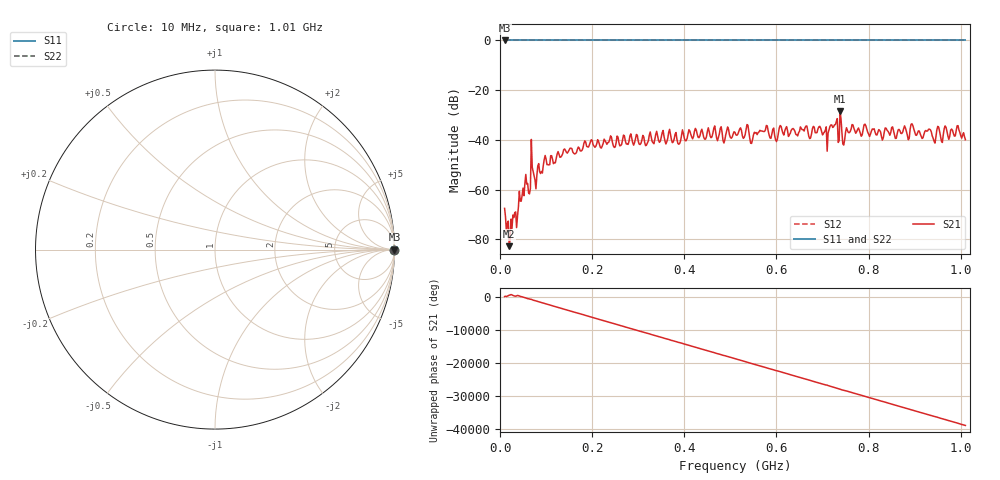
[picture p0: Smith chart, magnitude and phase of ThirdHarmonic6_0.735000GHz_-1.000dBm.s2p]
! 8/16/2025 12:36:05 AM
! C:\ANRITSUVNA\TEMP\TEMP.S2P
! CHANNEL.1
! TR.MEASUREMENT
! RAW.DATA
! RF.CORRECTION.OFF
! AVERAGING.OFF
! IF.BANDWIDTH: 5KHZ
! SWEEPTYPE:  FREQ.SWEEP(Linear)
! Reference Plane Port Info
! PORT:  PORT1  PORT2
! DISTANCE:  0  m  0  m
! TIME:  0  s  0  s
! PHASE.OFFSET:  0  deg.  0  deg.
! LOSS:  0  dB  0  dB
! REF.LOSS:  0  dB  0  dB
! REF.FREQ:  0  Hz  0  Hz
! Power Info
! POWER:  -20  dBm  -20  dBm
! EFF.POWER:  -20  dBm  -20  dBm
! SOURCE.ATTEN:  0  dB  0  dB
! TEST.ATTEN:  0  dB  0  dB
# GHZ S RI R 50.0
! FREQ.GHZ  S11RE  S11IM  S21RE  S21IM  S12RE  S12IM  S22RE  S22IM
!; PortSelection: Port_12
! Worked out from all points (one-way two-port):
!   501 points, 10 MHz to 1.01 GHz, reference 50 ohm
!   highest |S21| = -28.50 dB at 738 MHz (marker M1); lowest = -82.7 dB at 20 MHz (marker M2)
!   lowest |S11| = 0.0 dB at 10 MHz (marker M3)
!   |S11| at or under -10 dB: nowhere
!   |S22| runs from 0.0 to 0.0 dB; largest |S21 - S12| = 1
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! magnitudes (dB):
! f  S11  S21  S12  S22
! 10 MHz  0.0  -67.5  0.0  0.0
! 20 MHz  0.0  -82.7  0.0  0.0
! 54 MHz  0.0  -57.5  0.0  0.0
! 62 MHz  0.0  -61.3  0.0  0.0
! 72 MHz  0.0  -52.8  0.0  0.0
! 76 MHz  0.0  -56.1  0.0  0.0
! 98 MHz  0.0  -46.3  0.0  0.0
! 178 MHz  0.0  -44.2  0.0  0.0
! 344 MHz  0.0  -40.1  0.0  0.0
! 510 MHz  0.0  -37.0  0.0  0.0
! 678 MHz  0.0  -35.5  0.0  0.0
! 738 MHz  0.0  -28.5  0.0  0.0
! 746 MHz  0.0  -42.1  0.0  0.0
! 766 MHz  0.0  -34.0  0.0  0.0
! 844 MHz  0.0  -37.1  0.0  0.0
! 886 MHz  0.0  -39.9  0.0  0.0
! 894 MHz  0.0  -33.5  0.0  0.0
! 942 MHz  0.0  -40.5  0.0  0.0
! 950 MHz  0.0  -34.5  0.0  0.0
! 958 MHz  0.0  -40.5  0.0  0.0
! 994 MHz  0.0  -34.3  0.0  0.0
! 1.01 GHz  0.0  -39.9  0.0  0.0
